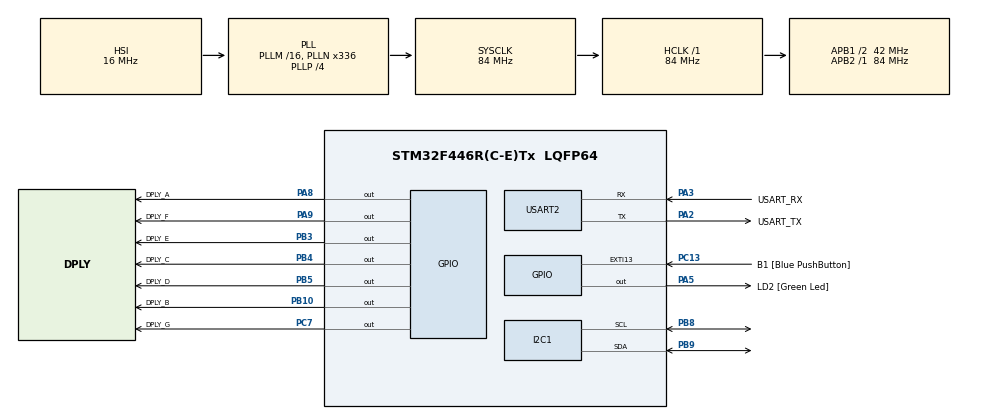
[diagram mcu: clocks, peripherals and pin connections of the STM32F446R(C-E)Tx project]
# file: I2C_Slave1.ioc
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I2C1.OwnAddress=0x12
Mcu.Family=STM32F4
Mcu.Name=STM32F446R(C-E)Tx
Mcu.Package=LQFP64
NVIC.I2C1_ER_IRQn=true\:0\:0\:false\:false\:true\:true\:true\:true
NVIC.I2C1_EV_IRQn=true\:0\:0\:false\:false\:true\:true\:true\:true
NVIC.PriorityGroup=NVIC_PRIORITYGROUP_0
PA13.GPIO_Label=TMS
PA13.Mode=Serial_Wire
PA13.Signal=SYS_JTMS-SWDIO
PA14.GPIO_Label=TCK
PA14.Mode=Serial_Wire
PA14.Signal=SYS_JTCK-SWCLK
PA2.GPIO_Label=USART_TX
PA2.Mode=Asynchronous
PA2.Signal=USART2_TX
PA3.GPIO_Label=USART_RX
PA3.Mode=Asynchronous
PA3.Signal=USART2_RX
PA5.GPIO_Label=LD2 [Green Led]
PA5.Signal=GPIO_Output
PA8.GPIO_Label=DPLY_A
PA8.Signal=GPIO_Output
PA9.GPIO_Label=DPLY_F
PA9.Signal=GPIO_Output
PB10.GPIO_Label=DPLY_B
PB10.Signal=GPIO_Output
PB3.GPIO_Label=DPLY_E
PB3.Signal=GPIO_Output
PB4.GPIO_Label=DPLY_C
PB4.Signal=GPIO_Output
PB5.GPIO_Label=DPLY_D
PB5.Signal=GPIO_Output
PB8.GPIO_Pu=GPIO_NOPULL
PB8.Mode=I2C
PB8.Signal=I2C1_SCL
PB9.GPIO_Pu=GPIO_NOPULL
PB9.Mode=I2C
PB9.Signal=I2C1_SDA
PC13.GPIO_Label=B1 [Blue PushButton]
PC13.GPIO_ModeDefaultEXTI=GPIO_MODE_IT_FALLING
PC13.Signal=GPXTI13
PC14-OSC32_IN.Mode=LSE-External-Oscillator
PC14-OSC32_IN.Signal=RCC_OSC32_IN
PC15-OSC32_OUT.Mode=LSE-External-Oscillator
PC15-OSC32_OUT.Signal=RCC_OSC32_OUT
PC7.GPIO_Label=DPLY_G
PC7.Signal=GPIO_Output
PH0-OSC_IN.Mode=HSE-External-Oscillator
PH0-OSC_IN.Signal=RCC_OSC_IN
PH1-OSC_OUT.Mode=HSE-External-Oscillator
PH1-OSC_OUT.Signal=RCC_OSC_OUT
ProjectManager.HeapSize=0x200
ProjectManager.StackSize=0x400
ProjectManager.TargetToolchain=STM32CubeIDE
RCC.48MHZClocksFreq_Value=84000000
RCC.AHBFreq_Value=84000000
RCC.APB1CLKDivider=RCC_HCLK_DIV2
RCC.APB1Freq_Value=42000000
RCC.APB1TimFreq_Value=84000000
RCC.APB2Freq_Value=84000000
RCC.APB2TimFreq_Value=84000000
RCC.CortexFreq_Value=84000000
RCC.FLatency-AdvancedSettings=FLASH_LATENCY_2
RCC.HCLKFreq_Value=84000000
RCC.HSE_VALUE=8000000
RCC.HSI_VALUE=16000000
RCC.PLLN=336
RCC.PLLP=RCC_PLLP_DIV4
RCC.SYSCLKFreq_VALUE=84000000
RCC.SYSCLKSource=RCC_SYSCLKSOURCE_PLLCLK
RCC.USBFreq_Value=168000000
RCC.VCOOutputFreq_Value=336000000
USART2.VirtualMode=VM_ASYNC
board=NUCLEO-F446RE

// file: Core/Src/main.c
/* USER CODE BEGIN Header */
/**
  ******************************************************************************
  * @file           : main.c
  * @brief          : Main program body
  ******************************************************************************
  * @attention
  *
  * Copyright (c) 2026 STMicroelectronics.
  * All rights reserved.
  *
  * This software is licensed under terms that can be found in the LICENSE file
  * in the root directory of this software component.
  * If no LICENSE file comes with this software, it is provided AS-IS.
  *
  ******************************************************************************
  */
/* USER CODE END Header */
#include "main.h"

I2C_HandleTypeDef hi2c1;

UART_HandleTypeDef huart2;

/* USER CODE BEGIN PV */
#define TxBufferSize	8
#define RxBufferSize	4

int count = 0;

uint8_t aTxBuffer[TxBufferSize] = {0};
uint8_t aRxBuffer[RxBufferSize];
/* USER CODE END PV */

void SystemClock_Config(void);
static void MX_GPIO_Init(void);
static void MX_I2C1_Init(void);
static void MX_USART2_UART_Init(void);

/* USER CODE BEGIN 0 */
void MostrarNumero(uint8_t valor){

	uint8_t display = 0;

	switch(valor) {
	    case 0: display = 0b1000000; break;
	    case 1: display = 0b1111001; break;
	    case 2: display = 0b0100100; break;
	    case 3: display = 0b0110000; break;
	    case 4: display = 0b0011001; break;
	    case 5: display = 0b0010010; break;
	    case 6: display = 0b0000010; break;
	    case 7: display = 0b1111000; break;
	    case 8: display = 0b0000000; break;
	    default: display = 0b1111111; break; // En ánodo común, 1 apaga todos los segmentos
	}
	//Revisar y encender bits
	HAL_GPIO_WritePin(DPLY_A_GPIO_Port,DPLY_A_Pin,(display & 0x01)?GPIO_PIN_SET:GPIO_PIN_RESET);
	HAL_GPIO_WritePin(DPLY_B_GPIO_Port,DPLY_B_Pin,(display & 0x02)?GPIO_PIN_SET:GPIO_PIN_RESET);
	HAL_GPIO_WritePin(DPLY_C_GPIO_Port,DPLY_C_Pin,(display & 0x04)?GPIO_PIN_SET:GPIO_PIN_RESET);
	HAL_GPIO_WritePin(DPLY_D_GPIO_Port,DPLY_D_Pin,(display & 0x08)?GPIO_PIN_SET:GPIO_PIN_RESET);
	HAL_GPIO_WritePin(DPLY_E_GPIO_Port,DPLY_E_Pin,(display & 0x10)?GPIO_PIN_SET:GPIO_PIN_RESET);
	HAL_GPIO_WritePin(DPLY_F_GPIO_Port,DPLY_F_Pin,(display & 0x20)?GPIO_PIN_SET:GPIO_PIN_RESET);
	HAL_GPIO_WritePin(DPLY_G_GPIO_Port,DPLY_G_Pin,(display & 0x40)?GPIO_PIN_SET:GPIO_PIN_RESET);
}

/* USER CODE END 0 */

int main(void)
{

  /* MCU Configuration--------------------------------------------------------*/

  /* Reset of all peripherals, Initializes the Flash interface and the Systick. */
  HAL_Init();

  /* Configure the system clock */
  SystemClock_Config();

  /* Initialize all configured peripherals */
  MX_GPIO_Init();
  MX_I2C1_Init();
  MX_USART2_UART_Init();
  /* USER CODE BEGIN 2 */
  aTxBuffer[0] = 1;
  aTxBuffer[4] = 1;
  aTxBuffer[5] = 1;
  aTxBuffer[6] = 1;

  MostrarNumero(9);
  if (HAL_I2C_EnableListen_IT(&hi2c1) != HAL_OK) {
	  Error_Handler();
  }

  /* USER CODE END 2 */

  /* Infinite loop */
  while (1)
  {

  }
}

void SystemClock_Config(void)
{
  RCC_OscInitTypeDef RCC_OscInitStruct = {0};
  RCC_ClkInitTypeDef RCC_ClkInitStruct = {0};

  /** Configure the main internal regulator output voltage
  */
  __HAL_RCC_PWR_CLK_ENABLE();
  __HAL_PWR_VOLTAGESCALING_CONFIG(PWR_REGULATOR_VOLTAGE_SCALE3);

  /** Initializes the RCC Oscillators according to the specified parameters
  * in the RCC_OscInitTypeDef structure.
  */
  RCC_OscInitStruct.OscillatorType = RCC_OSCILLATORTYPE_HSI;
  RCC_OscInitStruct.HSIState = RCC_HSI_ON;
  RCC_OscInitStruct.HSICalibrationValue = RCC_HSICALIBRATION_DEFAULT;
  RCC_OscInitStruct.PLL.PLLState = RCC_PLL_ON;
  RCC_OscInitStruct.PLL.PLLSource = RCC_PLLSOURCE_HSI;
  RCC_OscInitStruct.PLL.PLLM = 16;
  RCC_OscInitStruct.PLL.PLLN = 336;
  RCC_OscInitStruct.PLL.PLLP = RCC_PLLP_DIV4;
  RCC_OscInitStruct.PLL.PLLQ = 2;
  RCC_OscInitStruct.PLL.PLLR = 2;
  if (HAL_RCC_OscConfig(&RCC_OscInitStruct) != HAL_OK)
  {
    Error_Handler();
  }

  /** Initializes the CPU, AHB and APB buses clocks
  */
  RCC_ClkInitStruct.ClockType = RCC_CLOCKTYPE_HCLK|RCC_CLOCKTYPE_SYSCLK
                              |RCC_CLOCKTYPE_PCLK1|RCC_CLOCKTYPE_PCLK2;
  RCC_ClkInitStruct.SYSCLKSource = RCC_SYSCLKSOURCE_PLLCLK;
  RCC_ClkInitStruct.AHBCLKDivider = RCC_SYSCLK_DIV1;
  RCC_ClkInitStruct.APB1CLKDivider = RCC_HCLK_DIV2;
  RCC_ClkInitStruct.APB2CLKDivider = RCC_HCLK_DIV1;

  if (HAL_RCC_ClockConfig(&RCC_ClkInitStruct, FLASH_LATENCY_2) != HAL_OK)
  {
    Error_Handler();
  }
}

static void MX_I2C1_Init(void)
{

  hi2c1.Instance = I2C1;
  hi2c1.Init.ClockSpeed = 100000;
  hi2c1.Init.DutyCycle = I2C_DUTYCYCLE_2;
  hi2c1.Init.OwnAddress1 = 36;
  hi2c1.Init.AddressingMode = I2C_ADDRESSINGMODE_7BIT;
  hi2c1.Init.DualAddressMode = I2C_DUALADDRESS_DISABLE;
  hi2c1.Init.OwnAddress2 = 0;
  hi2c1.Init.GeneralCallMode = I2C_GENERALCALL_DISABLE;
  hi2c1.Init.NoStretchMode = I2C_NOSTRETCH_DISABLE;
  if (HAL_I2C_Init(&hi2c1) != HAL_OK)
  {
    Error_Handler();
  }

}

static void MX_USART2_UART_Init(void)
{

  huart2.Instance = USART2;
  huart2.Init.BaudRate = 115200;
  huart2.Init.WordLength = UART_WORDLENGTH_8B;
  huart2.Init.StopBits = UART_STOPBITS_1;
  huart2.Init.Parity = UART_PARITY_NONE;
  huart2.Init.Mode = UART_MODE_TX_RX;
  huart2.Init.HwFlowCtl = UART_HWCONTROL_NONE;
  huart2.Init.OverSampling = UART_OVERSAMPLING_16;
  if (HAL_UART_Init(&huart2) != HAL_OK)
  {
    Error_Handler();
  }

}

static void MX_GPIO_Init(void)
{
  GPIO_InitTypeDef GPIO_InitStruct = {0};

  /* GPIO Ports Clock Enable */
  __HAL_RCC_GPIOC_CLK_ENABLE();
  __HAL_RCC_GPIOH_CLK_ENABLE();
  __HAL_RCC_GPIOA_CLK_ENABLE();
  __HAL_RCC_GPIOB_CLK_ENABLE();

  /*Configure GPIO pin Output Level */
  HAL_GPIO_WritePin(GPIOA, LD2_Pin|DPLY_A_Pin|DPLY_F_Pin, GPIO_PIN_RESET);

  /*Configure GPIO pin Output Level */
  HAL_GPIO_WritePin(GPIOB, DPLY_B_Pin|DPLY_E_Pin|DPLY_C_Pin|DPLY_D_Pin, GPIO_PIN_RESET);

  /*Configure GPIO pin Output Level */
  HAL_GPIO_WritePin(DPLY_G_GPIO_Port, DPLY_G_Pin, GPIO_PIN_RESET);

  /*Configure GPIO pin : B1_Pin */
  GPIO_InitStruct.Pin = B1_Pin;
  GPIO_InitStruct.Mode = GPIO_MODE_IT_FALLING;
  GPIO_InitStruct.Pull = GPIO_NOPULL;
  HAL_GPIO_Init(B1_GPIO_Port, &GPIO_InitStruct);

  /*Configure GPIO pins : LD2_Pin DPLY_A_Pin DPLY_F_Pin */
  GPIO_InitStruct.Pin = LD2_Pin|DPLY_A_Pin|DPLY_F_Pin;
  GPIO_InitStruct.Mode = GPIO_MODE_OUTPUT_PP;
  GPIO_InitStruct.Pull = GPIO_NOPULL;
  GPIO_InitStruct.Speed = GPIO_SPEED_FREQ_LOW;
  HAL_GPIO_Init(GPIOA, &GPIO_InitStruct);

  /*Configure GPIO pins : DPLY_B_Pin DPLY_E_Pin DPLY_C_Pin DPLY_D_Pin */
  GPIO_InitStruct.Pin = DPLY_B_Pin|DPLY_E_Pin|DPLY_C_Pin|DPLY_D_Pin;
  GPIO_InitStruct.Mode = GPIO_MODE_OUTPUT_PP;
  GPIO_InitStruct.Pull = GPIO_NOPULL;
  GPIO_InitStruct.Speed = GPIO_SPEED_FREQ_LOW;
  HAL_GPIO_Init(GPIOB, &GPIO_InitStruct);

  /*Configure GPIO pin : DPLY_G_Pin */
  GPIO_InitStruct.Pin = DPLY_G_Pin;
  GPIO_InitStruct.Mode = GPIO_MODE_OUTPUT_PP;
  GPIO_InitStruct.Pull = GPIO_NOPULL;
  GPIO_InitStruct.Speed = GPIO_SPEED_FREQ_LOW;
  HAL_GPIO_Init(DPLY_G_GPIO_Port, &GPIO_InitStruct);

}

/* USER CODE BEGIN 4 */
//Cuando termine alguna lectura, volver a colocar listo la escucha a algun llamado
void HAL_I2C_ListenCpltCallback(I2C_HandleTypeDef *hi2c){
	HAL_I2C_EnableListen_IT(hi2c);
}

void HAL_I2C_AddrCallback(I2C_HandleTypeDef *hi2c, uint8_t TransferDirection, uint16_t AddrMatchCode){
	// para trasmitir datos del maestro al esclavo
	if (TransferDirection == I2C_DIRECTION_TRANSMIT) {
		if (HAL_I2C_Slave_Seq_Receive_IT(&hi2c1, (uint8_t*) aRxBuffer, 1, I2C_FIRST_AND_LAST_FRAME) != HAL_OK) {
			/* Transfer error in reception process */
			Error_Handler();
		}
	}
	else if (TransferDirection == I2C_DIRECTION_RECEIVE) {
		//para trasmitir datos del esclavo al maestro
		if (HAL_I2C_Slave_Seq_Transmit_IT(&hi2c1, (uint8_t*) aTxBuffer, 8, I2C_FIRST_AND_LAST_FRAME) != HAL_OK) {
			Error_Handler();
		}

	}
}

void HAL_I2C_SlaveRxCpltCallback(I2C_HandleTypeDef *I2cHandle) {
	MostrarNumero(aRxBuffer[0]);

    aRxBuffer[0] = 0x00;
    HAL_I2C_EnableListen_IT(I2cHandle);
}

void HAL_I2C_SlaveTxCpltCallback(I2C_HandleTypeDef *I2cHandle){
	//se podria colocar logica para saber si se transmitireon lso datos
}

void HAL_I2C_ErrorCallback(I2C_HandleTypeDef *I2cHandle) {
    /* Error_Handler() function is called when error occurs.
     * 1- When Slave doesn't acknowledge its address, Master restarts communication.
     * 2- When Master doesn't acknowledge the last data transferred, Slave doesn't care in this example.
     */
    if (HAL_I2C_GetError(I2cHandle) != HAL_I2C_ERROR_AF) {
        Error_Handler();
    }
}
/* USER CODE END 4 */

void Error_Handler(void)
{
  __disable_irq();
  while (1)
  {
  }
}
